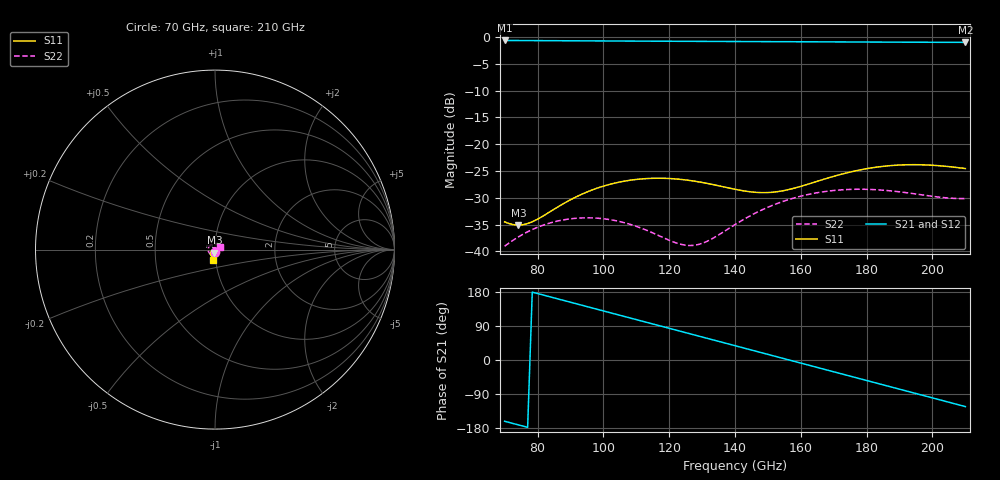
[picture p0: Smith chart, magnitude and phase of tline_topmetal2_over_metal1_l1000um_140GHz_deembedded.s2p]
! Created with skrf 2.0.1 (http://scikit-rf.org).
# GHz S DB R 50.0
!freq dBS11 angS11 dBS21 angS21 dBS12 angS12 dBS22 angS22
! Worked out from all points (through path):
!   101 points, 70 GHz to 210 GHz, reference 50 ohm
!   highest |S21| = -0.62 dB at 70 GHz (marker M1); lowest = -1.0 dB at 210 GHz (marker M2)
!   group delay of S21, straight-line fit = 6.38 ps
!   lowest |S11| = -35.1 dB at 74.2 GHz (marker M3), VSWR 1.04, Z = 49.6 - j1.71 ohm
!   |S11| at or under -10 dB: start of sweep to end of sweep
!   |S22| runs from -39.0 to -28.4 dB; largest |S21 - S12| = 1.6e-14
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70  -34.50 -115.1  -0.62 -161.6  -0.62 -161.6  -39.03 -81.2
74.2  -35.09 -102.1  -0.63 -171.3  -0.63 -171.3  -37.29 -84.0
78.4  -34.48 -88.7  -0.64 179.1  -0.64 179.1  -35.92 -91.0
84  -32.52 -78.3  -0.66 166.3  -0.66 166.3  -34.66 -103.8
93.8  -29.23 -77.6  -0.69 143.8  -0.69 143.8  -33.75 -131.8
100.8  -27.68 -83.1  -0.71 127.7  -0.71 127.7  -33.97 -155.0
106.4  -26.89 -88.8  -0.73 114.9  -0.73 114.9  -34.65 -175.9
112  -26.45 -94.7  -0.74 102.0  -0.74 102.0  -35.78 160.2
117.6  -26.35 -100.3  -0.76 89.2  -0.76 89.2  -37.27 131.1
127.4  -26.87 -107.7  -0.78 66.7  -0.78 66.7  -38.88 61.2
131.6  -27.32 -109.2  -0.79 57.1  -0.79 57.1  -38.10 28.5
140  -28.40 -107.7  -0.81 37.8  -0.81 37.8  -35.01 -24.2
147  -29.01 -100.9  -0.83 21.7  -0.83 21.7  -32.60 -57.5
152.6  -28.88 -93.5  -0.84 8.8  -0.84 8.8  -31.11 -80.9
158.2  -28.17 -87.1  -0.86 -4.0  -0.86 -4.0  -29.98 -102.8
163.8  -27.14 -83.7  -0.87 -16.9  -0.87 -16.9  -29.18 -124.0
169.4  -26.09 -83.1  -0.88 -29.7  -0.88 -29.7  -28.67 -145.1
176.4  -24.99 -85.3  -0.90 -45.8  -0.90 -45.8  -28.41 -171.7
187.6  -23.97 -92.1  -0.93 -71.5  -0.93 -71.5  -28.72 143.0
193.2  -23.82 -95.8  -0.94 -84.4  -0.94 -84.4  -29.14 118.3
198.8  -23.88 -99.0  -0.95 -97.2  -0.95 -97.2  -29.62 91.6
210  -24.53 -102.2  -0.97 -123.0  -0.97 -123.0  -30.14 31.8
